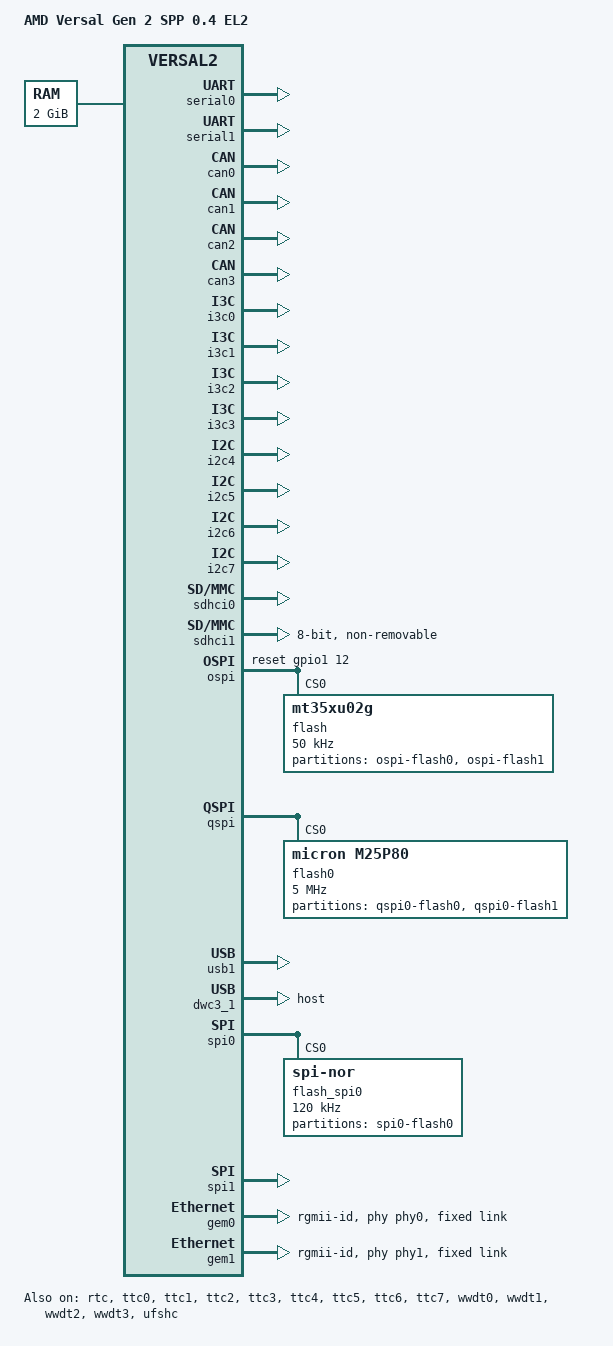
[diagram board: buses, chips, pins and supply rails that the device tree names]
// SPDX-License-Identifier: GPL-2.0
/*
 * dts file for AMD Versal Gen 2
 *
 * Copyright (C) 2023 - 2024, Advanced Micro Devices, Inc.
 *
 * Michal Simek <michal.simek@amd.com>
 * Subbu Patibandla <subbu.patibandla@amd.com>
 */

#include "versal2.dtsi"
#include "versal2-scmi.dtsi"

#define CLOCK_FREQ	962500
#define CLOCK_QSPI_FREQ	20000000
#define CLOCK_USB_FREQ	20000000

/ {
	compatible = "amd,versal2-spp", "amd,versal2";
	model = "AMD Versal Gen 2 SPP 0.4 EL2";

	chosen {
		bootargs = "earlycon=pl011,mmio32,0xf1920000 console=ttyAMA0,115200 maxcpus=8 rdinit=/bin/sh";
		stdout-path = "serial0:115200n8";
	};

	memory@0 {
		reg = <0 0 0 0x80000000>;
		device_type = "memory";
	};

	reserved-memory {
		#address-cells = <2>;
		#size-cells = <2>;
		ranges;

		tfa: memory@10080000 {
			no-map;
			reg = <0 0x10080000 0 0x50000>;
		};

		transfer_list: memory@7ffe0000 {
			no-map;
			reg = <0 0x7ffe0000 0 0x10000>;
		};
	};

	firmware {
		optee: optee  {
			compatible = "linaro,optee-tz";
			method = "smc";
		};

		psci: psci { /* Should be injected by firmware */
			compatible = "arm,psci-1.0";
			method = "smc";
		};
	};
};

&serial0 {
	status = "okay";
	assigned-clock-rates = <CLOCK_FREQ>, <CLOCK_FREQ>;
};

&serial1 {
	status = "okay";
	assigned-clock-rates = <CLOCK_FREQ>, <CLOCK_FREQ>;
};

&timer {
	clock-frequency = <1000000>;
};

&adma0 {
	status = "okay";
	assigned-clock-rates = <100000000>, <100000000>;
};

&adma1 {
	status = "okay";
	assigned-clock-rates = <100000000>, <100000000>;
};

&adma2 {
	status = "okay";
	assigned-clock-rates = <100000000>, <100000000>;
};

&adma3 {
	status = "okay";
	assigned-clock-rates = <100000000>, <100000000>;
};

&adma4 {
	status = "okay";
	assigned-clock-rates = <100000000>, <100000000>;
};

&adma5 {
	status = "okay";
	assigned-clock-rates = <100000000>, <100000000>;
};

&adma6 {
	status = "okay";
	assigned-clock-rates = <100000000>, <100000000>;
};

&adma7 {
	status = "okay";
	assigned-clock-rates = <100000000>, <100000000>;
};

&can0 {
	status = "okay";
	assigned-clock-rates = <50000000>, <100000000>;
};

&can1 {
	status = "okay";
	assigned-clock-rates = <50000000>, <100000000>;
};

&can2 {
	status = "okay";
	assigned-clock-rates = <50000000>, <100000000>;
};

&can3 {
	status = "okay";
	assigned-clock-rates = <50000000>, <100000000>;
};

&gpio0 {
	status = "okay";
	assigned-clock-rates = <CLOCK_FREQ>;
};

&gpio1 {
	status = "okay";
	assigned-clock-rates = <CLOCK_FREQ>;
};

&i3c0 {
	status = "okay";
	assigned-clock-rates = <CLOCK_FREQ>;
};

&i3c1 {
	status = "okay";
	assigned-clock-rates = <CLOCK_FREQ>;
};

&i3c2 {
	status = "okay";
	assigned-clock-rates = <CLOCK_FREQ>;
};

&i3c3 {
	status = "okay";
	assigned-clock-rates = <CLOCK_FREQ>;
};

&i2c4 {
	status = "okay";
	assigned-clock-rates = <CLOCK_FREQ>;
};

&i2c5 {
	status = "okay";
	assigned-clock-rates = <CLOCK_FREQ>;
};

&i2c6 {
	status = "okay";
	assigned-clock-rates = <CLOCK_FREQ>;
};

&i2c7 {
	status = "okay";
	assigned-clock-rates = <CLOCK_FREQ>;
};

&sdhci0 {
	status = "okay";
	assigned-clock-rates = <CLOCK_FREQ>, <CLOCK_FREQ>, <CLOCK_FREQ>;
	sdhci-caps-mask = <0x80000000 0>;
	sdhci-caps = <0 0>;
};

&sdhci1 {
	status = "okay";
	bus-width = <8>;
	disable-wp;
	non-removable;
	no-sd;
	no-sdio;
	cap-mmc-hw-reset;
	xlnx,mio-bank = <0>;
	no-mmc-hs400;
	assigned-clock-rates = <CLOCK_FREQ>, <CLOCK_FREQ>, <CLOCK_FREQ>;
	sdhci-caps-mask = <0x80000000 0>;
	sdhci-caps = <0 0>;
};

&ospi {
	status = "okay";
	reset-names = "qspi";
	reset-gpios = <&gpio1 12 0>;
	is-stacked = <0>;
	is-dual = <0>;
	assigned-clock-rates = <CLOCK_QSPI_FREQ>;
	#address-cells = <1>;
	#size-cells = <0>;

	flash@0 {
		compatible = "mt35xu02g", "micron,m25p80", "jedec,spi-nor";
		spi-max-frequency = <50000>;
		spi-rx-bus-width = <8>;
		spi-tx-bus-width = <8>;
		cdns,tslch-ns = <1>;
		cdns,tchsh-ns = <1>;
		cdns,tsd2d-ns = <0>;
		cdns,tshsl-ns = <0>;
		cdns,read-delay = <0>;
		#size-cells = <1>;
		#address-cells = <1>;
		reg = <0>;
		no-wp;
		broken-flash-reset;

		partitions {
			#size-cells = <1>;
			#address-cells = <1>;
			compatible = "fixed-partitions";

			partition@0 {
				reg = <0x0 0x200000>;
				label = "ospi-flash0";
			};

			partition@1 {
				reg = <0x200000 0x3e00000>;
				label = "ospi-flash1";
			};
		};
	};
};

&qspi {
	status = "okay";
	#size-cells = <0>;
	#address-cells = <1>;
	num-cs = <2>;
	assigned-clock-rates = <CLOCK_QSPI_FREQ>, <CLOCK_FREQ>;

	flash0: flash@0 {
		compatible = "micron,m25p80", "jedec,spi-nor";
		spi-max-frequency = <5000000>;
		spi-rx-bus-width = <4>;
		spi-tx-bus-width = <4>;
		parallel-memories = <0 0x8000000>, <0 0x8000000>;
		reg = <0>, <1>;

		partitions {
			#size-cells = <1>;
			#address-cells = <1>;
			compatible = "fixed-partitions";

			partition@0 {
				reg = <0 0x200000>;
				label = "qspi0-flash0";
			};

			partition@1 {
				reg = <0x200000 0x7e00000>;
				label = "qspi0-flash1";
			};
		};
	};
};

&rtc {
	status = "okay";
};

&ttc0 {
	status = "okay";
	assigned-clock-rates = <CLOCK_FREQ>;
};

&ttc1 {
	status = "okay";
	assigned-clock-rates = <CLOCK_FREQ>;
};

&ttc2 {
	status = "okay";
	assigned-clock-rates = <CLOCK_FREQ>;
};

&ttc3 {
	status = "okay";
	assigned-clock-rates = <CLOCK_FREQ>;
};

&ttc4 {
	status = "okay";
	assigned-clock-rates = <CLOCK_FREQ>;
};

&ttc5 {
	status = "okay";
	assigned-clock-rates = <CLOCK_FREQ>;
};

&ttc6 {
	status = "okay";
	assigned-clock-rates = <CLOCK_FREQ>;
};

&ttc7 {
	status = "okay";
	assigned-clock-rates = <CLOCK_FREQ>;
};

&usb1 {
	status = "okay";
	assigned-clock-rates = <CLOCK_USB_FREQ>, <CLOCK_USB_FREQ>;
};

&dwc3_1 {
	status = "okay";
	dr_mode = "host";
	maximum-speed = "high-speed";
	assigned-clock-rates = <CLOCK_USB_FREQ>;
};

&wwdt0 {
	status = "okay";
	assigned-clock-rates = <CLOCK_FREQ>;
};

&wwdt1 {
	status = "okay";
	assigned-clock-rates = <CLOCK_FREQ>;
};

&wwdt2 {
	status = "okay";
	assigned-clock-rates = <CLOCK_FREQ>;
};

&wwdt3 {
	status = "okay";
	assigned-clock-rates = <CLOCK_FREQ>;
};

&spi0 {
	status = "okay";
	assigned-clock-rates = <CLOCK_FREQ>, <CLOCK_FREQ>;
	#address-cells = <1>;
	#size-cells = <0>;
	num-cs = <1>;
	flash_spi0: flash@0 {
		compatible = "jedec,spi-nor";
		reg = <0>;
		spi-max-frequency = <120000>;
		partitions {
			compatible = "fixed-partitions";
			#address-cells = <1>;
			#size-cells = <1>;
			partition@0 {
				label = "spi0-flash0";
				reg = <0 0x100000>;
			};
		};
	};
};

&spi1 {
	status = "okay";
	assigned-clock-rates = <CLOCK_FREQ>, <CLOCK_FREQ>;
};

&gem0 {
	status = "okay";
	assigned-clock-rates = <CLOCK_FREQ>, <CLOCK_FREQ>, <125000000>, <CLOCK_FREQ>, <CLOCK_FREQ>;
	phy-handle = <&phy0>;
	phy-mode = "rgmii-id";

	phy0: fixed-link {
		speed = <1000>;
		full-duplex;
	};
};

&gem1 {
	status = "okay";
	assigned-clock-rates = <CLOCK_FREQ>, <CLOCK_FREQ>, <125000000>, <CLOCK_FREQ>, <CLOCK_FREQ>;
	phy-handle = <&phy1>;
	phy-mode = "rgmii-id";

	phy1: fixed-link {
		speed = <1000>;
		full-duplex;
	};
};

&ufshc {
	status = "okay";
	assigned-clock-rates = <100000000>, <26000000>, <26000000>;
};

